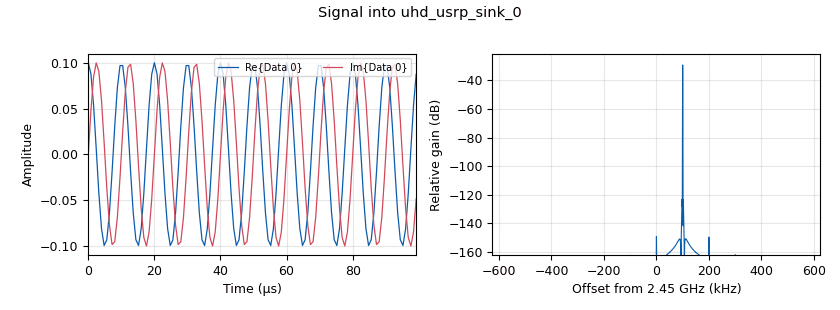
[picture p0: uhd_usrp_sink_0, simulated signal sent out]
options:
  parameters:
    generate_options: no_gui
    id: Lab2_Task3_tx
    output_language: python
    run_options: run
    title: Lab2_Task3_tx
  states: {}

blocks:
- name: N
  id: variable
  parameters:
    value: int(T*samp_rate)
  states: {}
- name: T
  id: variable
  parameters:
    value: '0.25'
  states: {}
- name: TX_gain
  id: variable
  parameters:
    value: '50'
  states: {}
- name: baseband_freq
  id: variable
  parameters:
    value: '100000'
  states: {}
- name: center_freq
  id: variable
  parameters:
    value: '2450000000'
  states: {}
- name: samp_rate
  id: variable
  parameters:
    value: '1250000'
  states: {}
- name: analog_sig_source_x_0
  id: analog_sig_source_x
  parameters:
    amp: '0.1'
    freq: baseband_freq
    offset: '0'
    phase: '0'
    samp_rate: samp_rate
    type: complex
    waveform: analog.GR_COS_WAVE
  states: {}
- name: blocks_head_0
  id: blocks_head
  parameters:
    num_items: N
    type: complex
  states: {}
- name: uhd_usrp_sink_0
  id: uhd_usrp_sink
  parameters:
    ant0: '"TX/RX"'
    bw0: samp_rate
    center_freq0: center_freq
    clock_rate: 125.0e6
    dev_addr: '"addr=10.61.40.27"'
    gain0: TX_gain
    samp_rate: samp_rate
    sd_spec0: A:0
    sync: sync
    type: fc32
  states: {}

connections:
- [analog_sig_source_x_0, '0', blocks_head_0, '0']
- [blocks_head_0, '0', uhd_usrp_sink_0, '0']

metadata:
  file_format: 1
  grc_version: 3.10.12.0
